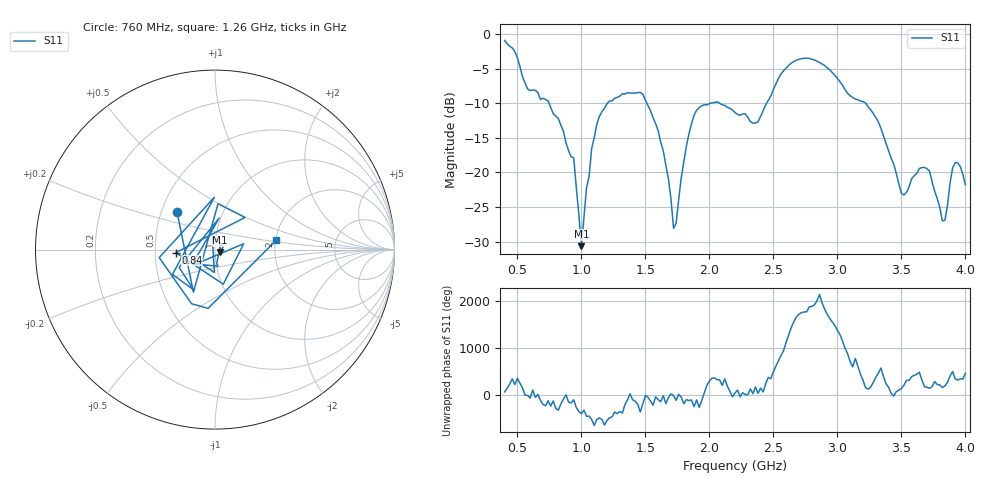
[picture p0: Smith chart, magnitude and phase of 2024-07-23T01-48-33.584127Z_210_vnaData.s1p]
!Created with skrf (http://scikit-rf.org).
# Hz S RI R 50.0
!freq ReS11 ImS11
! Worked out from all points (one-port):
!   181 points, 400 MHz to 4 GHz, reference 50 ohm
!   lowest |S11| = -30.7 dB at 1 GHz (marker M1), VSWR 1.06, Z = 52.6 - j1.51 ohm
!   |S11| at or under -10 dB: 748.1 MHz to 1.203 GHz (454.8 MHz wide, 46.6 % of centre); 1.511 GHz to 2.007 GHz (495.6 MHz wide, 28.2 % of centre); 3.222 GHz to end of sweep (the widest 3 of 4)
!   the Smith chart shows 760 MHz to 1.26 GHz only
!   S11 on the Smith chart (normalised r, x): 760 MHz: 0.60, +0.28; 840 MHz: 0.64, -0.02; 1.26 GHz: 2.01, +0.23
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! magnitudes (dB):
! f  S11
! 400 MHz  -0.9
! 580 MHz  -7.9
! 760 MHz  -10.5
! 840 MHz  -13.2
! 860 MHz  -14.1
! 940 MHz  -17.9
! 1 GHz  -30.7
! 1.04 GHz  -22.3
! 1.12 GHz  -13.0
! 1.26 GHz  -9.3
! 1.3 GHz  -9.0
! 1.48 GHz  -8.7
! 1.64 GHz  -16.9
! 1.72 GHz  -28.1
! 1.76 GHz  -23.9
! 1.82 GHz  -16.2
! 1.9 GHz  -11.0
! 2.2 GHz  -11.3
! 2.38 GHz  -12.7
! 2.66 GHz  -3.9
! 3.1 GHz  -8.9
! 3.32 GHz  -12.7
! 3.5 GHz  -23.0
! 3.56 GHz  -22.1
! 3.72 GHz  -19.8
! 3.82 GHz  -27.0
! 3.92 GHz  -18.6
! 4 GHz  -21.8
